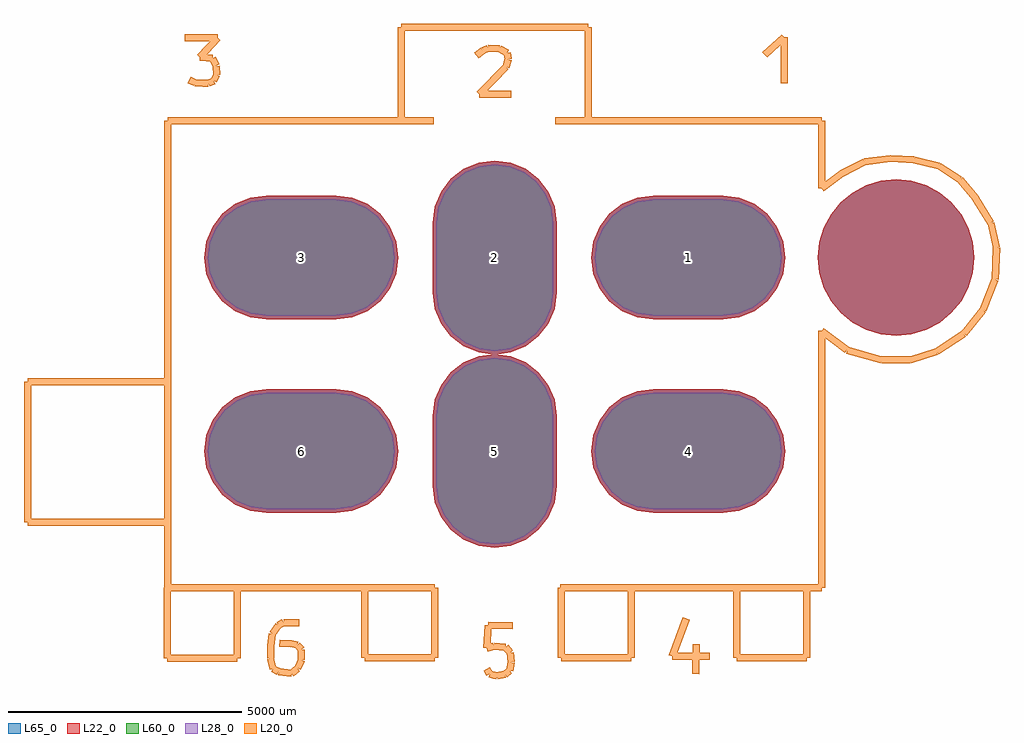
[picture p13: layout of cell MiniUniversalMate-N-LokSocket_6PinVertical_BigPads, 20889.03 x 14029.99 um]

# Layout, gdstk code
import gdstk
lib = gdstk.Library(unit=1e-6, precision=1e-09)
def P(c, l, *ps):  # polygons
    for p in ps: c.add(gdstk.Polygon(p, *l))
L20_0 = (20, 0)
L22_0 = (22, 0)
L28_0 = (28, 0)
L60_0 = (60, 0)
L65_0 = (65, 0)

miniuniversalmate_n_loks = lib.new_cell('MiniUniversalMate-N-LokSocket_6PinVertical_BigPads')
P(miniuniversalmate_n_loks, L22_0, [(10265.48,2070.1),(10233.292,2396.915),(10137.963,2711.171),(9983.158,3000.791),(9774.825,3254.645),(9520.971,3462.978),(9231.351,3617.783),(8917.095,3713.112),(8590.28,3745.3),(8263.465,3713.112),(7949.209,3617.783),(7659.589,3462.978),(7405.735,3254.645),(7197.402,3000.791),(7042.597,2711.171),(6947.268,2396.915),(6915.08,2070.1),(6947.268,1743.285),(7042.597,1429.029),(7197.402,1139.409),(7405.735,885.555),(7659.589,677.222),(7949.209,522.417),(8263.465,427.088),(8590.28,394.9),(8917.095,427.088),(9231.351,522.417),(9520.971,677.222),(9774.825,885.555),(9983.158,1139.409),(10137.963,1429.029),(10233.292,1743.285)],
  [(-4890.77,-3394.78),(-3389.63,-3394.78),(-3046.778,-3349.643),(-2727.29,-3217.307),(-2452.94,-3006.79),(-2242.423,-2732.44),(-2110.087,-2412.952),(-2064.95,-2070.1),(-2110.087,-1727.248),(-2242.423,-1407.76),(-2452.94,-1133.41),(-2727.29,-922.893),(-3046.778,-790.557),(-3389.63,-745.42),(-4890.77,-745.42),(-5233.622,-790.557),(-5553.11,-922.893),(-5827.46,-1133.41),(-6037.977,-1407.76),(-6170.313,-1727.248),(-6215.45,-2070.1),(-6170.313,-2412.952),(-6037.977,-2732.44),(-5827.46,-3006.79),(-5553.11,-3217.307),(-5233.622,-3349.643)],
  [(0,-4145.35),(342.852,-4100.213),(662.34,-3967.877),(936.69,-3757.36),(1147.207,-3483.01),(1279.543,-3163.522),(1324.68,-2820.67),(1324.68,-1319.53),(1279.543,-976.678),(1147.207,-657.19),(936.69,-382.84),(662.34,-172.323),(342.852,-39.987),(0,5.15),(-342.852,-39.987),(-662.34,-172.323),(-936.69,-382.84),(-1147.207,-657.19),(-1279.543,-976.678),(-1324.68,-1319.53),(-1324.68,-2820.67),(-1279.543,-3163.522),(-1147.207,-3483.01),(-936.69,-3757.36),(-662.34,-3967.877),(-342.852,-4100.213)],
  [(3389.63,-3394.78),(4890.77,-3394.78),(5233.622,-3349.643),(5553.11,-3217.307),(5827.46,-3006.79),(6037.977,-2732.44),(6170.313,-2412.952),(6215.45,-2070.1),(6170.313,-1727.248),(6037.977,-1407.76),(5827.46,-1133.41),(5553.11,-922.893),(5233.622,-790.557),(4890.77,-745.42),(3389.63,-745.42),(3046.778,-790.557),(2727.29,-922.893),(2452.94,-1133.41),(2242.423,-1407.76),(2110.087,-1727.248),(2064.95,-2070.1),(2110.087,-2412.952),(2242.423,-2732.44),(2452.94,-3006.79),(2727.29,-3217.307),(3046.778,-3349.643)],
  [(-4890.77,745.42),(-3389.63,745.42),(-3046.778,790.557),(-2727.29,922.893),(-2452.94,1133.41),(-2242.423,1407.76),(-2110.087,1727.248),(-2064.95,2070.1),(-2110.087,2412.952),(-2242.423,2732.44),(-2452.94,3006.79),(-2727.29,3217.307),(-3046.778,3349.643),(-3389.63,3394.78),(-4890.77,3394.78),(-5233.622,3349.643),(-5553.11,3217.307),(-5827.46,3006.79),(-6037.977,2732.44),(-6170.313,2412.952),(-6215.45,2070.1),(-6170.313,1727.248),(-6037.977,1407.76),(-5827.46,1133.41),(-5553.11,922.893),(-5233.622,790.557)],
  [(0,-5.15),(342.852,39.987),(662.34,172.323),(936.69,382.84),(1147.207,657.19),(1279.543,976.678),(1324.68,1319.53),(1324.68,2820.67),(1279.543,3163.522),(1147.207,3483.01),(936.69,3757.36),(662.34,3967.877),(342.852,4100.213),(0,4145.35),(-342.852,4100.213),(-662.34,3967.877),(-936.69,3757.36),(-1147.207,3483.01),(-1279.543,3163.522),(-1324.68,2820.67),(-1324.68,1319.53),(-1279.543,976.678),(-1147.207,657.19),(-936.69,382.84),(-662.34,172.323),(-342.852,39.987)],
  [(3389.63,745.42),(4890.77,745.42),(5233.622,790.557),(5553.11,922.893),(5827.46,1133.41),(6037.977,1407.76),(6170.313,1727.248),(6215.45,2070.1),(6170.313,2412.952),(6037.977,2732.44),(5827.46,3006.79),(5553.11,3217.307),(5233.622,3349.643),(4890.77,3394.78),(3389.63,3394.78),(3046.778,3349.643),(2727.29,3217.307),(2452.94,3006.79),(2242.423,2732.44),(2110.087,2412.952),(2064.95,2070.1),(2110.087,1727.248),(2242.423,1407.76),(2452.94,1133.41),(2727.29,922.893),(3046.778,790.557)])
P(miniuniversalmate_n_loks, L28_0, [(-4890.77,-3319.78),(-3389.63,-3319.78),(-3066.189,-3277.198),(-2764.79,-3152.355),(-2505.973,-2953.757),(-2307.375,-2694.94),(-2182.532,-2393.541),(-2139.95,-2070.1),(-2182.532,-1746.659),(-2307.375,-1445.26),(-2505.973,-1186.443),(-2764.79,-987.845),(-3066.189,-863.002),(-3389.63,-820.42),(-4890.77,-820.42),(-5214.211,-863.002),(-5515.61,-987.845),(-5774.427,-1186.443),(-5973.025,-1445.26),(-6097.868,-1746.659),(-6140.45,-2070.1),(-6097.868,-2393.541),(-5973.025,-2694.94),(-5774.427,-2953.757),(-5515.61,-3152.355),(-5214.211,-3277.198)],
  [(0,-4070.35),(323.441,-4027.768),(624.84,-3902.925),(883.657,-3704.327),(1082.255,-3445.51),(1207.098,-3144.111),(1249.68,-2820.67),(1249.68,-1319.53),(1207.098,-996.089),(1082.255,-694.69),(883.657,-435.873),(624.84,-237.275),(323.441,-112.432),(0,-69.85),(-323.441,-112.432),(-624.84,-237.275),(-883.657,-435.873),(-1082.255,-694.69),(-1207.098,-996.089),(-1249.68,-1319.53),(-1249.68,-2820.67),(-1207.098,-3144.111),(-1082.255,-3445.51),(-883.657,-3704.327),(-624.84,-3902.925),(-323.441,-4027.768)],
  [(3389.63,-3319.78),(4890.77,-3319.78),(5214.211,-3277.198),(5515.61,-3152.355),(5774.427,-2953.757),(5973.025,-2694.94),(6097.868,-2393.541),(6140.45,-2070.1),(6097.868,-1746.659),(5973.025,-1445.26),(5774.427,-1186.443),(5515.61,-987.845),(5214.211,-863.002),(4890.77,-820.42),(3389.63,-820.42),(3066.189,-863.002),(2764.79,-987.845),(2505.973,-1186.443),(2307.375,-1445.26),(2182.532,-1746.659),(2139.95,-2070.1),(2182.532,-2393.541),(2307.375,-2694.94),(2505.973,-2953.757),(2764.79,-3152.355),(3066.189,-3277.198)],
  [(-4890.77,820.42),(-3389.63,820.42),(-3066.189,863.002),(-2764.79,987.845),(-2505.973,1186.443),(-2307.375,1445.26),(-2182.532,1746.659),(-2139.95,2070.1),(-2182.532,2393.541),(-2307.375,2694.94),(-2505.973,2953.757),(-2764.79,3152.355),(-3066.189,3277.198),(-3389.63,3319.78),(-4890.77,3319.78),(-5214.211,3277.198),(-5515.61,3152.355),(-5774.427,2953.757),(-5973.025,2694.94),(-6097.868,2393.541),(-6140.45,2070.1),(-6097.868,1746.659),(-5973.025,1445.26),(-5774.427,1186.443),(-5515.61,987.845),(-5214.211,863.002)],
  [(0,69.85),(323.441,112.432),(624.84,237.275),(883.657,435.873),(1082.255,694.69),(1207.098,996.089),(1249.68,1319.53),(1249.68,2820.67),(1207.098,3144.111),(1082.255,3445.51),(883.657,3704.327),(624.84,3902.925),(323.441,4027.768),(0,4070.35),(-323.441,4027.768),(-624.84,3902.925),(-883.657,3704.327),(-1082.255,3445.51),(-1207.098,3144.111),(-1249.68,2820.67),(-1249.68,1319.53),(-1207.098,996.089),(-1082.255,694.69),(-883.657,435.873),(-624.84,237.275),(-323.441,112.432)],
  [(3389.63,820.42),(4890.77,820.42),(5214.211,863.002),(5515.61,987.845),(5774.427,1186.443),(5973.025,1445.26),(6097.868,1746.659),(6140.45,2070.1),(6097.868,2393.541),(5973.025,2694.94),(5774.427,2953.757),(5515.61,3152.355),(5214.211,3277.198),(4890.77,3319.78),(3389.63,3319.78),(3066.189,3277.198),(2764.79,3152.355),(2505.973,2953.757),(2307.375,2694.94),(2182.532,2393.541),(2139.95,2070.1),(2182.532,1746.659),(2307.375,1445.26),(2505.973,1186.443),(2764.79,987.845),(3066.189,863.002)])
P(miniuniversalmate_n_loks, L60_0, [(-4890.77,-3319.78),(-3389.63,-3319.78),(-3066.189,-3277.198),(-2764.79,-3152.355),(-2505.973,-2953.757),(-2307.375,-2694.94),(-2182.532,-2393.541),(-2139.95,-2070.1),(-2182.532,-1746.659),(-2307.375,-1445.26),(-2505.973,-1186.443),(-2764.79,-987.845),(-3066.189,-863.002),(-3389.63,-820.42),(-4890.77,-820.42),(-5214.211,-863.002),(-5515.61,-987.845),(-5774.427,-1186.443),(-5973.025,-1445.26),(-6097.868,-1746.659),(-6140.45,-2070.1),(-6097.868,-2393.541),(-5973.025,-2694.94),(-5774.427,-2953.757),(-5515.61,-3152.355),(-5214.211,-3277.198)],
  [(0,-4070.35),(323.441,-4027.768),(624.84,-3902.925),(883.657,-3704.327),(1082.255,-3445.51),(1207.098,-3144.111),(1249.68,-2820.67),(1249.68,-1319.53),(1207.098,-996.089),(1082.255,-694.69),(883.657,-435.873),(624.84,-237.275),(323.441,-112.432),(0,-69.85),(-323.441,-112.432),(-624.84,-237.275),(-883.657,-435.873),(-1082.255,-694.69),(-1207.098,-996.089),(-1249.68,-1319.53),(-1249.68,-2820.67),(-1207.098,-3144.111),(-1082.255,-3445.51),(-883.657,-3704.327),(-624.84,-3902.925),(-323.441,-4027.768)],
  [(3389.63,-3319.78),(4890.77,-3319.78),(5214.211,-3277.198),(5515.61,-3152.355),(5774.427,-2953.757),(5973.025,-2694.94),(6097.868,-2393.541),(6140.45,-2070.1),(6097.868,-1746.659),(5973.025,-1445.26),(5774.427,-1186.443),(5515.61,-987.845),(5214.211,-863.002),(4890.77,-820.42),(3389.63,-820.42),(3066.189,-863.002),(2764.79,-987.845),(2505.973,-1186.443),(2307.375,-1445.26),(2182.532,-1746.659),(2139.95,-2070.1),(2182.532,-2393.541),(2307.375,-2694.94),(2505.973,-2953.757),(2764.79,-3152.355),(3066.189,-3277.198)],
  [(-4890.77,820.42),(-3389.63,820.42),(-3066.189,863.002),(-2764.79,987.845),(-2505.973,1186.443),(-2307.375,1445.26),(-2182.532,1746.659),(-2139.95,2070.1),(-2182.532,2393.541),(-2307.375,2694.94),(-2505.973,2953.757),(-2764.79,3152.355),(-3066.189,3277.198),(-3389.63,3319.78),(-4890.77,3319.78),(-5214.211,3277.198),(-5515.61,3152.355),(-5774.427,2953.757),(-5973.025,2694.94),(-6097.868,2393.541),(-6140.45,2070.1),(-6097.868,1746.659),(-5973.025,1445.26),(-5774.427,1186.443),(-5515.61,987.845),(-5214.211,863.002)],
  [(0,69.85),(323.441,112.432),(624.84,237.275),(883.657,435.873),(1082.255,694.69),(1207.098,996.089),(1249.68,1319.53),(1249.68,2820.67),(1207.098,3144.111),(1082.255,3445.51),(883.657,3704.327),(624.84,3902.925),(323.441,4027.768),(0,4070.35),(-323.441,4027.768),(-624.84,3902.925),(-883.657,3704.327),(-1082.255,3445.51),(-1207.098,3144.111),(-1249.68,2820.67),(-1249.68,1319.53),(-1207.098,996.089),(-1082.255,694.69),(-883.657,435.873),(-624.84,237.275),(-323.441,112.432)],
  [(3389.63,820.42),(4890.77,820.42),(5214.211,863.002),(5515.61,987.845),(5774.427,1186.443),(5973.025,1445.26),(6097.868,1746.659),(6140.45,2070.1),(6097.868,2393.541),(5973.025,2694.94),(5774.427,2953.757),(5515.61,3152.355),(5214.211,3277.198),(4890.77,3319.78),(3389.63,3319.78),(3066.189,3277.198),(2764.79,3152.355),(2505.973,2953.757),(2307.375,2694.94),(2182.532,2393.541),(2139.95,2070.1),(2182.532,1746.659),(2307.375,1445.26),(2505.973,1186.443),(2764.79,987.845),(3066.189,863.002)])
P(miniuniversalmate_n_loks, L65_0, [(10265.48,2070.1),(10233.292,2396.915),(10137.963,2711.171),(9983.158,3000.791),(9774.825,3254.645),(9520.971,3462.978),(9231.351,3617.783),(8917.095,3713.112),(8590.28,3745.3),(8263.465,3713.112),(7949.209,3617.783),(7659.589,3462.978),(7405.735,3254.645),(7197.402,3000.791),(7042.597,2711.171),(6947.268,2396.915),(6915.08,2070.1),(6947.268,1743.285),(7042.597,1429.029),(7197.402,1139.409),(7405.735,885.555),(7659.589,677.222),(7949.209,522.417),(8263.465,427.088),(8590.28,394.9),(8917.095,427.088),(9231.351,522.417),(9520.971,677.222),(9774.825,885.555),(9983.158,1139.409),(10137.963,1429.029),(10233.292,1743.285)],
  [(-4890.77,-3394.78),(-3389.63,-3394.78),(-3046.778,-3349.643),(-2727.29,-3217.307),(-2452.94,-3006.79),(-2242.423,-2732.44),(-2110.087,-2412.952),(-2064.95,-2070.1),(-2110.087,-1727.248),(-2242.423,-1407.76),(-2452.94,-1133.41),(-2727.29,-922.893),(-3046.778,-790.557),(-3389.63,-745.42),(-4890.77,-745.42),(-5233.622,-790.557),(-5553.11,-922.893),(-5827.46,-1133.41),(-6037.977,-1407.76),(-6170.313,-1727.248),(-6215.45,-2070.1),(-6170.313,-2412.952),(-6037.977,-2732.44),(-5827.46,-3006.79),(-5553.11,-3217.307),(-5233.622,-3349.643)],
  [(0,-4145.35),(342.852,-4100.213),(662.34,-3967.877),(936.69,-3757.36),(1147.207,-3483.01),(1279.543,-3163.522),(1324.68,-2820.67),(1324.68,-1319.53),(1279.543,-976.678),(1147.207,-657.19),(936.69,-382.84),(662.34,-172.323),(342.852,-39.987),(0,5.15),(-342.852,-39.987),(-662.34,-172.323),(-936.69,-382.84),(-1147.207,-657.19),(-1279.543,-976.678),(-1324.68,-1319.53),(-1324.68,-2820.67),(-1279.543,-3163.522),(-1147.207,-3483.01),(-936.69,-3757.36),(-662.34,-3967.877),(-342.852,-4100.213)],
  [(3389.63,-3394.78),(4890.77,-3394.78),(5233.622,-3349.643),(5553.11,-3217.307),(5827.46,-3006.79),(6037.977,-2732.44),(6170.313,-2412.952),(6215.45,-2070.1),(6170.313,-1727.248),(6037.977,-1407.76),(5827.46,-1133.41),(5553.11,-922.893),(5233.622,-790.557),(4890.77,-745.42),(3389.63,-745.42),(3046.778,-790.557),(2727.29,-922.893),(2452.94,-1133.41),(2242.423,-1407.76),(2110.087,-1727.248),(2064.95,-2070.1),(2110.087,-2412.952),(2242.423,-2732.44),(2452.94,-3006.79),(2727.29,-3217.307),(3046.778,-3349.643)],
  [(-4890.77,745.42),(-3389.63,745.42),(-3046.778,790.557),(-2727.29,922.893),(-2452.94,1133.41),(-2242.423,1407.76),(-2110.087,1727.248),(-2064.95,2070.1),(-2110.087,2412.952),(-2242.423,2732.44),(-2452.94,3006.79),(-2727.29,3217.307),(-3046.778,3349.643),(-3389.63,3394.78),(-4890.77,3394.78),(-5233.622,3349.643),(-5553.11,3217.307),(-5827.46,3006.79),(-6037.977,2732.44),(-6170.313,2412.952),(-6215.45,2070.1),(-6170.313,1727.248),(-6037.977,1407.76),(-5827.46,1133.41),(-5553.11,922.893),(-5233.622,790.557)],
  [(0,-5.15),(342.852,39.987),(662.34,172.323),(936.69,382.84),(1147.207,657.19),(1279.543,976.678),(1324.68,1319.53),(1324.68,2820.67),(1279.543,3163.522),(1147.207,3483.01),(936.69,3757.36),(662.34,3967.877),(342.852,4100.213),(0,4145.35),(-342.852,4100.213),(-662.34,3967.877),(-936.69,3757.36),(-1147.207,3483.01),(-1279.543,3163.522),(-1324.68,2820.67),(-1324.68,1319.53),(-1279.543,976.678),(-1147.207,657.19),(-936.69,382.84),(-662.34,172.323),(-342.852,39.987)],
  [(3389.63,745.42),(4890.77,745.42),(5233.622,790.557),(5553.11,922.893),(5827.46,1133.41),(6037.977,1407.76),(6170.313,1727.248),(6215.45,2070.1),(6170.313,2412.952),(6037.977,2732.44),(5827.46,3006.79),(5553.11,3217.307),(5233.622,3349.643),(4890.77,3394.78),(3389.63,3394.78),(3046.778,3349.643),(2727.29,3217.307),(2452.94,3006.79),(2242.423,2732.44),(2110.087,2412.952),(2064.95,2070.1),(2110.087,1727.248),(2242.423,1407.76),(2452.94,1133.41),(2727.29,922.893),(3046.778,790.557)])
miniuniversalmate_n_loks.add(gdstk.FlexPath([(-7000.24,-5001.26),(-7000.24,5001.26)], 149.998, ends="flush", simple_path=True, layer=20, datatype=0))  # L20_0
miniuniversalmate_n_loks.add(gdstk.FlexPath([(-1998.98,7000.24),(-1998.98,5001.26)], 149.998, ends="flush", simple_path=True, layer=20, datatype=0))  # L20_0
miniuniversalmate_n_loks.add(gdstk.FlexPath([(1998.98,7000.24),(-1998.98,7000.24)], 149.998, ends="flush", simple_path=True, layer=20, datatype=0))  # L20_0
miniuniversalmate_n_loks.add(gdstk.FlexPath([(1998.98,5001.26),(1998.98,7000.24)], 149.998, ends="flush", simple_path=True, layer=20, datatype=0))  # L20_0
miniuniversalmate_n_loks.add(gdstk.FlexPath([(7000.24,5001.26),(7000.24,3550.92)], 149.998, ends="flush", simple_path=True, layer=20, datatype=0))  # L20_0
miniuniversalmate_n_loks.add(gdstk.FlexPath([(7429.5,3870.96),(7000.24,3550.92)], 149.998, ends="flush", simple_path=True, layer=20, datatype=0))  # L20_0
miniuniversalmate_n_loks.add(gdstk.FlexPath([(7919.72,4119.88),(7429.5,3870.96)], 149.998, ends="flush", simple_path=True, layer=20, datatype=0))  # L20_0
miniuniversalmate_n_loks.add(gdstk.FlexPath([(8470.9,4191),(7919.72,4119.88)], 149.998, ends="flush", simple_path=True, layer=20, datatype=0))  # L20_0
miniuniversalmate_n_loks.add(gdstk.FlexPath([(8978.9,4160.52),(8470.9,4191)], 149.998, ends="flush", simple_path=True, layer=20, datatype=0))  # L20_0
miniuniversalmate_n_loks.add(gdstk.FlexPath([(9509.76,4030.98),(8978.9,4160.52)], 149.998, ends="flush", simple_path=True, layer=20, datatype=0))  # L20_0
miniuniversalmate_n_loks.add(gdstk.FlexPath([(9959.34,3738.88),(9509.76,4030.98)], 149.998, ends="flush", simple_path=True, layer=20, datatype=0))  # L20_0
miniuniversalmate_n_loks.add(gdstk.FlexPath([(10299.7,3329.94),(9959.34,3738.88)], 149.998, ends="flush", simple_path=True, layer=20, datatype=0))  # L20_0
miniuniversalmate_n_loks.add(gdstk.FlexPath([(10619.74,2809.24),(10299.7,3329.94)], 149.998, ends="flush", simple_path=True, layer=20, datatype=0))  # L20_0
miniuniversalmate_n_loks.add(gdstk.FlexPath([(10739.12,2280.92),(10619.74,2809.24)], 149.998, ends="flush", simple_path=True, layer=20, datatype=0))  # L20_0
miniuniversalmate_n_loks.add(gdstk.FlexPath([(10711.18,1600.2),(10739.12,2280.92)], 149.998, ends="flush", simple_path=True, layer=20, datatype=0))  # L20_0
miniuniversalmate_n_loks.add(gdstk.FlexPath([(10449.56,949.96),(10711.18,1600.2)], 149.998, ends="flush", simple_path=True, layer=20, datatype=0))  # L20_0
miniuniversalmate_n_loks.add(gdstk.FlexPath([(10040.62,439.42),(10449.56,949.96)], 149.998, ends="flush", simple_path=True, layer=20, datatype=0))  # L20_0
miniuniversalmate_n_loks.add(gdstk.FlexPath([(9458.96,60.96),(10040.62,439.42)], 149.998, ends="flush", simple_path=True, layer=20, datatype=0))  # L20_0
miniuniversalmate_n_loks.add(gdstk.FlexPath([(8890,-119.38),(9458.96,60.96)], 149.998, ends="flush", simple_path=True, layer=20, datatype=0))  # L20_0
miniuniversalmate_n_loks.add(gdstk.FlexPath([(8280.4,-119.38),(8890,-119.38)], 149.998, ends="flush", simple_path=True, layer=20, datatype=0))  # L20_0
miniuniversalmate_n_loks.add(gdstk.FlexPath([(7541.26,88.9),(8280.4,-119.38)], 149.998, ends="flush", simple_path=True, layer=20, datatype=0))  # L20_0
miniuniversalmate_n_loks.add(gdstk.FlexPath([(7000.24,500.38),(7541.26,88.9)], 149.998, ends="flush", simple_path=True, layer=20, datatype=0))  # L20_0
miniuniversalmate_n_loks.add(gdstk.FlexPath([(7000.24,-5001.26),(7000.24,500.38)], 149.998, ends="flush", simple_path=True, layer=20, datatype=0))  # L20_0
miniuniversalmate_n_loks.add(gdstk.FlexPath([(-9999.98,-3589.02),(-9999.98,-589.28)], 149.998, ends="flush", simple_path=True, layer=20, datatype=0))  # L20_0
miniuniversalmate_n_loks.add(gdstk.FlexPath([(-7000.24,-3589.02),(-9999.98,-3589.02)], 149.998, ends="flush", simple_path=True, layer=20, datatype=0))  # L20_0
miniuniversalmate_n_loks.add(gdstk.FlexPath([(-7000.24,-589.28),(-7000.24,-3589.02)], 149.998, ends="flush", simple_path=True, layer=20, datatype=0))  # L20_0
miniuniversalmate_n_loks.add(gdstk.FlexPath([(-9999.98,-589.28),(-7000.24,-589.28)], 149.998, ends="flush", simple_path=True, layer=20, datatype=0))  # L20_0
miniuniversalmate_n_loks.add(gdstk.FlexPath([(-7010.4,-6499.86),(-7010.4,-5001.26)], 149.998, ends="flush", simple_path=True, layer=20, datatype=0))  # L20_0
miniuniversalmate_n_loks.add(gdstk.FlexPath([(-5511.8,-6499.86),(-7010.4,-6499.86)], 149.998, ends="flush", simple_path=True, layer=20, datatype=0))  # L20_0
miniuniversalmate_n_loks.add(gdstk.FlexPath([(-5511.8,-5001.26),(-5511.8,-6499.86)], 149.998, ends="flush", simple_path=True, layer=20, datatype=0))  # L20_0
miniuniversalmate_n_loks.add(gdstk.FlexPath([(-7010.4,-5001.26),(-5511.8,-5001.26)], 149.998, ends="flush", simple_path=True, layer=20, datatype=0))  # L20_0
miniuniversalmate_n_loks.add(gdstk.FlexPath([(-2778.76,-4991.1),(-1280.16,-4991.1)], 149.998, ends="flush", simple_path=True, layer=20, datatype=0))  # L20_0
miniuniversalmate_n_loks.add(gdstk.FlexPath([(-1280.16,-4991.1),(-1280.16,-6489.7)], 149.998, ends="flush", simple_path=True, layer=20, datatype=0))  # L20_0
miniuniversalmate_n_loks.add(gdstk.FlexPath([(-1280.16,-6489.7),(-2778.76,-6489.7)], 149.998, ends="flush", simple_path=True, layer=20, datatype=0))  # L20_0
miniuniversalmate_n_loks.add(gdstk.FlexPath([(-2778.76,-6489.7),(-2778.76,-4991.1)], 149.998, ends="flush", simple_path=True, layer=20, datatype=0))  # L20_0
miniuniversalmate_n_loks.add(gdstk.FlexPath([(1419.86,-6497.32),(1419.86,-4998.72)], 149.998, ends="flush", simple_path=True, layer=20, datatype=0))  # L20_0
miniuniversalmate_n_loks.add(gdstk.FlexPath([(2918.46,-6497.32),(1419.86,-6497.32)], 149.998, ends="flush", simple_path=True, layer=20, datatype=0))  # L20_0
miniuniversalmate_n_loks.add(gdstk.FlexPath([(2918.46,-4998.72),(2918.46,-6497.32)], 149.998, ends="flush", simple_path=True, layer=20, datatype=0))  # L20_0
miniuniversalmate_n_loks.add(gdstk.FlexPath([(1419.86,-4998.72),(2918.46,-4998.72)], 149.998, ends="flush", simple_path=True, layer=20, datatype=0))  # L20_0
miniuniversalmate_n_loks.add(gdstk.FlexPath([(5181.6,-4991.1),(6680.2,-4991.1)], 149.998, ends="flush", simple_path=True, layer=20, datatype=0))  # L20_0
miniuniversalmate_n_loks.add(gdstk.FlexPath([(6680.2,-4991.1),(6680.2,-6489.7)], 149.998, ends="flush", simple_path=True, layer=20, datatype=0))  # L20_0
miniuniversalmate_n_loks.add(gdstk.FlexPath([(6680.2,-6489.7),(5181.6,-6489.7)], 149.998, ends="flush", simple_path=True, layer=20, datatype=0))  # L20_0
miniuniversalmate_n_loks.add(gdstk.FlexPath([(5181.6,-6489.7),(5181.6,-4991.1)], 149.998, ends="flush", simple_path=True, layer=20, datatype=0))  # L20_0
miniuniversalmate_n_loks.add(gdstk.FlexPath([(6192.52,6789.42),(6192.52,5798.82)], 149.998, ends="flush", simple_path=True, layer=20, datatype=0))  # L20_0
miniuniversalmate_n_loks.add(gdstk.FlexPath([(5781.04,6408.42),(6192.52,6789.42)], 149.998, ends="flush", simple_path=True, layer=20, datatype=0))  # L20_0
miniuniversalmate_n_loks.add(gdstk.FlexPath([(-330.2,5570.22),(350.52,5570.22)], 149.998, ends="flush", simple_path=True, layer=20, datatype=0))  # L20_0
miniuniversalmate_n_loks.add(gdstk.FlexPath([(238.76,6149.34),(-330.2,5570.22)], 149.998, ends="flush", simple_path=True, layer=20, datatype=0))  # L20_0
miniuniversalmate_n_loks.add(gdstk.FlexPath([(289.56,6319.52),(238.76,6149.34)], 149.998, ends="flush", simple_path=True, layer=20, datatype=0))  # L20_0
miniuniversalmate_n_loks.add(gdstk.FlexPath([(269.24,6449.06),(289.56,6319.52)], 149.998, ends="flush", simple_path=True, layer=20, datatype=0))  # L20_0
miniuniversalmate_n_loks.add(gdstk.FlexPath([(99.06,6540.5),(269.24,6449.06)], 149.998, ends="flush", simple_path=True, layer=20, datatype=0))  # L20_0
miniuniversalmate_n_loks.add(gdstk.FlexPath([(-139.7,6550.66),(99.06,6540.5)], 149.998, ends="flush", simple_path=True, layer=20, datatype=0))  # L20_0
miniuniversalmate_n_loks.add(gdstk.FlexPath([(-251.46,6499.86),(-139.7,6550.66)], 149.998, ends="flush", simple_path=True, layer=20, datatype=0))  # L20_0
miniuniversalmate_n_loks.add(gdstk.FlexPath([(-391.16,6390.64),(-251.46,6499.86)], 149.998, ends="flush", simple_path=True, layer=20, datatype=0))  # L20_0
miniuniversalmate_n_loks.add(gdstk.FlexPath([(-6410.96,5811.52),(-6540.5,5869.94)], 149.998, ends="flush", simple_path=True, layer=20, datatype=0))  # L20_0
miniuniversalmate_n_loks.add(gdstk.FlexPath([(-6240.78,5801.36),(-6410.96,5811.52)], 149.998, ends="flush", simple_path=True, layer=20, datatype=0))  # L20_0
miniuniversalmate_n_loks.add(gdstk.FlexPath([(-6131.56,5801.36),(-6240.78,5801.36)], 149.998, ends="flush", simple_path=True, layer=20, datatype=0))  # L20_0
miniuniversalmate_n_loks.add(gdstk.FlexPath([(-6012.18,5852.16),(-6131.56,5801.36)], 149.998, ends="flush", simple_path=True, layer=20, datatype=0))  # L20_0
miniuniversalmate_n_loks.add(gdstk.FlexPath([(-5951.22,5981.7),(-6012.18,5852.16)], 149.998, ends="flush", simple_path=True, layer=20, datatype=0))  # L20_0
miniuniversalmate_n_loks.add(gdstk.FlexPath([(-5961.38,6172.2),(-5951.22,5981.7)], 149.998, ends="flush", simple_path=True, layer=20, datatype=0))  # L20_0
miniuniversalmate_n_loks.add(gdstk.FlexPath([(-6042.66,6339.84),(-5961.38,6172.2)], 149.998, ends="flush", simple_path=True, layer=20, datatype=0))  # L20_0
miniuniversalmate_n_loks.add(gdstk.FlexPath([(-6311.9,6360.16),(-6042.66,6339.84)], 149.998, ends="flush", simple_path=True, layer=20, datatype=0))  # L20_0
miniuniversalmate_n_loks.add(gdstk.FlexPath([(-5930.9,6771.64),(-6311.9,6360.16)], 149.998, ends="flush", simple_path=True, layer=20, datatype=0))  # L20_0
miniuniversalmate_n_loks.add(gdstk.FlexPath([(-6631.94,6771.64),(-5930.9,6771.64)], 149.998, ends="flush", simple_path=True, layer=20, datatype=0))  # L20_0
miniuniversalmate_n_loks.add(gdstk.FlexPath([(-4358.64,-6189.98),(-4607.56,-6179.82)], 149.998, ends="flush", simple_path=True, layer=20, datatype=0))  # L20_0
miniuniversalmate_n_loks.add(gdstk.FlexPath([(-4226.56,-6220.46),(-4358.64,-6189.98)], 149.998, ends="flush", simple_path=True, layer=20, datatype=0))  # L20_0
miniuniversalmate_n_loks.add(gdstk.FlexPath([(-4137.66,-6319.52),(-4226.56,-6220.46)], 149.998, ends="flush", simple_path=True, layer=20, datatype=0))  # L20_0
miniuniversalmate_n_loks.add(gdstk.FlexPath([(-4137.66,-6540.5),(-4137.66,-6319.52)], 149.998, ends="flush", simple_path=True, layer=20, datatype=0))  # L20_0
miniuniversalmate_n_loks.add(gdstk.FlexPath([(-4216.4,-6720.84),(-4137.66,-6540.5)], 149.998, ends="flush", simple_path=True, layer=20, datatype=0))  # L20_0
miniuniversalmate_n_loks.add(gdstk.FlexPath([(-4348.48,-6830.06),(-4216.4,-6720.84)], 149.998, ends="flush", simple_path=True, layer=20, datatype=0))  # L20_0
miniuniversalmate_n_loks.add(gdstk.FlexPath([(-4627.88,-6789.42),(-4348.48,-6830.06)], 149.998, ends="flush", simple_path=True, layer=20, datatype=0))  # L20_0
miniuniversalmate_n_loks.add(gdstk.FlexPath([(-4747.26,-6731),(-4627.88,-6789.42)], 149.998, ends="flush", simple_path=True, layer=20, datatype=0))  # L20_0
miniuniversalmate_n_loks.add(gdstk.FlexPath([(-4798.06,-6510.02),(-4747.26,-6731)], 149.998, ends="flush", simple_path=True, layer=20, datatype=0))  # L20_0
miniuniversalmate_n_loks.add(gdstk.FlexPath([(-4798.06,-6250.94),(-4798.06,-6510.02)], 149.998, ends="flush", simple_path=True, layer=20, datatype=0))  # L20_0
miniuniversalmate_n_loks.add(gdstk.FlexPath([(-4757.42,-5979.16),(-4798.06,-6250.94)], 149.998, ends="flush", simple_path=True, layer=20, datatype=0))  # L20_0
miniuniversalmate_n_loks.add(gdstk.FlexPath([(-4627.88,-5801.36),(-4757.42,-5979.16)], 149.998, ends="flush", simple_path=True, layer=20, datatype=0))  # L20_0
miniuniversalmate_n_loks.add(gdstk.FlexPath([(-4518.66,-5740.4),(-4627.88,-5801.36)], 149.998, ends="flush", simple_path=True, layer=20, datatype=0))  # L20_0
miniuniversalmate_n_loks.add(gdstk.FlexPath([(-4287.52,-5740.4),(-4518.66,-5740.4)], 149.998, ends="flush", simple_path=True, layer=20, datatype=0))  # L20_0
miniuniversalmate_n_loks.add(gdstk.FlexPath([(-4188.46,-5740.4),(-4287.52,-5740.4)], 149.998, ends="flush", simple_path=True, layer=20, datatype=0))  # L20_0
miniuniversalmate_n_loks.add(gdstk.FlexPath([(-111.76,-6840.22),(-170.18,-6738.62)], 149.998, ends="flush", simple_path=True, layer=20, datatype=0))  # L20_0
miniuniversalmate_n_loks.add(gdstk.FlexPath([(-10.16,-6870.7),(-111.76,-6840.22)], 149.998, ends="flush", simple_path=True, layer=20, datatype=0))  # L20_0
miniuniversalmate_n_loks.add(gdstk.FlexPath([(48.26,-6880.86),(-10.16,-6870.7)], 149.998, ends="flush", simple_path=True, layer=20, datatype=0))  # L20_0
miniuniversalmate_n_loks.add(gdstk.FlexPath([(218.44,-6850.38),(48.26,-6880.86)], 149.998, ends="flush", simple_path=True, layer=20, datatype=0))  # L20_0
miniuniversalmate_n_loks.add(gdstk.FlexPath([(320.04,-6769.1),(218.44,-6850.38)], 149.998, ends="flush", simple_path=True, layer=20, datatype=0))  # L20_0
miniuniversalmate_n_loks.add(gdstk.FlexPath([(350.52,-6588.76),(320.04,-6769.1)], 149.998, ends="flush", simple_path=True, layer=20, datatype=0))  # L20_0
miniuniversalmate_n_loks.add(gdstk.FlexPath([(330.2,-6380.48),(350.52,-6588.76)], 149.998, ends="flush", simple_path=True, layer=20, datatype=0))  # L20_0
miniuniversalmate_n_loks.add(gdstk.FlexPath([(228.6,-6268.72),(330.2,-6380.48)], 149.998, ends="flush", simple_path=True, layer=20, datatype=0))  # L20_0
miniuniversalmate_n_loks.add(gdstk.FlexPath([(-20.32,-6248.4),(228.6,-6268.72)], 149.998, ends="flush", simple_path=True, layer=20, datatype=0))  # L20_0
miniuniversalmate_n_loks.add(gdstk.FlexPath([(-170.18,-6289.04),(-20.32,-6248.4)], 149.998, ends="flush", simple_path=True, layer=20, datatype=0))  # L20_0
miniuniversalmate_n_loks.add(gdstk.FlexPath([(-139.7,-5798.82),(-170.18,-6289.04)], 149.998, ends="flush", simple_path=True, layer=20, datatype=0))  # L20_0
miniuniversalmate_n_loks.add(gdstk.FlexPath([(388.62,-5808.98),(-139.7,-5798.82)], 149.998, ends="flush", simple_path=True, layer=20, datatype=0))  # L20_0
miniuniversalmate_n_loks.add(gdstk.FlexPath([(3799.84,-6461.76),(4599.94,-6461.76)], 149.998, ends="flush", simple_path=True, layer=20, datatype=0))  # L20_0
miniuniversalmate_n_loks.add(gdstk.FlexPath([(4099.56,-5654.04),(3799.84,-6461.76)], 149.998, ends="flush", simple_path=True, layer=20, datatype=0))  # L20_0
miniuniversalmate_n_loks.add(gdstk.FlexPath([(4300.22,-6842.76),(4310.38,-6202.68)], 149.998, ends="flush", simple_path=True, layer=20, datatype=0))  # L20_0
miniuniversalmate_n_loks.add(gdstk.FlexPath([(-1501.14,-5001.26),(-1399.54,-5001.26)], 149.998, ends="flush", simple_path=True, layer=20, datatype=0))  # L20_0
miniuniversalmate_n_loks.add(gdstk.FlexPath([(-7000.24,-5001.26),(-1501.14,-5001.26)], 149.998, ends="flush", simple_path=True, layer=20, datatype=0))  # L20_0
miniuniversalmate_n_loks.add(gdstk.FlexPath([(1399.54,-5001.26),(7000.24,-5001.26)], 149.998, ends="flush", simple_path=True, layer=20, datatype=0))  # L20_0
miniuniversalmate_n_loks.add(gdstk.FlexPath([(7000.24,5001.26),(1300.48,5001.26)], 149.998, ends="flush", simple_path=True, layer=20, datatype=0))  # L20_0
miniuniversalmate_n_loks.add(gdstk.FlexPath([(-1300.48,5001.26),(-7000.24,5001.26)], 149.998, ends="flush", simple_path=True, layer=20, datatype=0))  # L20_0
miniuniversalmate_n_loks.add(gdstk.Label('6', (-4140.2,-2070.1), layer=28, texttype=0))
miniuniversalmate_n_loks.add(gdstk.Label('5', (0,-2070.1), layer=28, texttype=0))
miniuniversalmate_n_loks.add(gdstk.Label('4', (4140.2,-2070.1), layer=28, texttype=0))
miniuniversalmate_n_loks.add(gdstk.Label('3', (-4140.2,2070.1), layer=28, texttype=0))
miniuniversalmate_n_loks.add(gdstk.Label('2', (0,2070.1), layer=28, texttype=0))
miniuniversalmate_n_loks.add(gdstk.Label('1', (4140.2,2070.1), layer=28, texttype=0))
miniuniversalmate_n_loks.add(gdstk.Label('type', (-231.14,-9979.66), layer=9, texttype=0))
miniuniversalmate_n_loks.add(gdstk.Label('devicename', (10.16,9370.06), layer=9, texttype=0))

lib.write_gds('MiniUniversalMate-N-LokSocket_6PinVertical_BigPads.gds')
